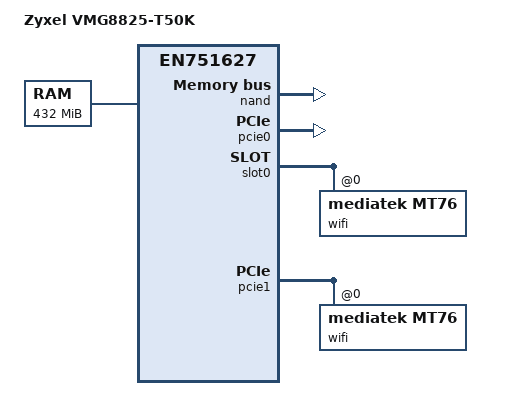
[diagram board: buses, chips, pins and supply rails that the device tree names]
// SPDX-License-Identifier: (GPL-2.0-only OR BSD-2-Clause)
/dts-v1/;

#include "en751627.dtsi"

/ {
	model = "Zyxel VMG8825-T50K";
	compatible = "zyxel,vmg8825-t50k", "econet,en751627";

	/*
	 * RAM: 512 MB DDR3-1333 fisica (Winbond), ma dichiarare l'intero range
	 * (0x0-0x1FFFFFFF) fa bloccare il kernel subito dopo "Readback ErrCtl
	 * register", prima di "Built 1 zonelists" — confine esatto con la
	 * finestra MMIO PCIe0 (0x20000000, vedi en751627.dtsi) e/o limite
	 * reale del training DDR3 del bootloader vendor.
	 * Il kernel stock ZyXEL (3.18.21) vedeva infatti solo 432MB usabili
	 * (80MB riservati per DSP VoIP + buffer WiFi) su questo stesso hardware.
	 * Replichiamo lo stesso limite, verificato reale, invece del totale.
	 */
	memory@0 {
		device_type = "memory";
		reg = <0x00000000 0x1b000000>;
	};

	chosen {
		stdout-path = "/serial@1fbf0000:115200";
		/*
		 * "misc" (118MB, vendor scratch space non usato da OpenWrt) riusata
		 * come volume UBI per l'overlay persistente. Il kernel ha gia'
		 * CONFIG_MTD_UBI + CONFIG_UBIFS_FS abilitati (verificato in
		 * target/linux/econet/en751627/config-6.18); JFFS2 invece non e'
		 * compilato affatto (CONFIG_JFFS2_FS is not set), motivo per cui
		 * senza UBI l'overlay cade sempre su tmpfs, ad ogni boot.
		 * fstools (mount_root.c) cerca un VOLUME UBI chiamato "rootfs_data"
		 * (non basta attaccare la partizione: va creato una volta con
		 * "ubimkvol /dev/ubi0 -N rootfs_data -m" dalla shell live).
		 */
		bootargs = "ubi.mtd=misc";
	};
};

&nand {
	status = "okay";
	econet,bmt;

	/*
	 * PARTITION TABLE ESATTA (confermata da /proc/mtd del kernel stock,
	 * boot log VMG8825-T50K firmware V5.50(ABRN.0)b5_20190923):
	 *
	 *   0x00000000-0x00040000 : bootloader      (256 KB)  read-only
	 *   0x00040000-0x00080000 : romfile         (256 KB)  read-only, contiene config vendor
	 *   0x00080000-0x03880000 : tclinux         ( 56 MB)  OS primario  (slot A)
	 *   0x03880000-0x06e80000 : tclinux_slave   ( 56 MB)  OS secondario (slot B)
	 *   0x06e80000-0x06f80000 : wwan            (  1 MB)
	 *   0x06f80000-0x07380000 : data            (  4 MB)
	 *   0x07380000-0x07480000 : rom-d           (  1 MB)
	 *   0x07480000-0x0ea80000 : misc            (118 MB)
	 *   0x0ea80000-0x0eb40000 : reservearea     (768 KB)  contiene WiFi EEPROM+CALDATA
	 *
	 * NAND totale: 256 MB Winbond W25M02G (SPI-NAND SLC, 2K page + 64 OOB)
	 *
	 * NOTA: tclinux contiene kernel LZMA + rootfs SquashFS-LZMA concatenati.
	 *       Il compatible "openwrt,firmware" abilita autodetect dei sub-blocchi.
	 */
	partitions {
		compatible = "fixed-partitions";
		#address-cells = <1>;
		#size-cells = <1>;

		partition@0all {
			label = "all_of_flash";
			reg = <0x0 0x10000000>;
			read-only;
		};

		partition@0 {
			label = "bootloader";
			reg = <0x00000000 0x00040000>;
			read-only;
		};

		partition@40000 {
			label = "romfile";
			reg = <0x00040000 0x00040000>;
			read-only;
		};

		/*
		 * "compatible = openwrt,firmware" (usato in una revisione precedente)
		 * non esiste in nessun driver reale: e' una stringa inerte, non fa nulla.
		 * Il meccanismo vero (verificato in target/linux/econet/image/tclinux-trx.sh)
		 * e' che la rootfs squashfs inizia SEMPRE a un offset fisso di 4MiB
		 * (PAD_ROOTFS_OFFSET_TO) dall'inizio della partizione tclinux, esattamente
		 * come fa il DTS di riferimento en751627_zyxel_ex3301-t0.dts (rootfs a
		 * 0x480000 = 0x80000+0x400000). Serve una sotto-partizione esplicita con
		 * "linux,rootfs;" perche' il kernel sappia dove montare la root.
		 * NOTA: solo "tclinux" (main) ha la rootfs marcata — anche il device
		 * di riferimento EX3301 fa cosi' (la sua "tclinux_alt" e' solo backup
		 * grezzo, senza rootfs marcata). Percio' bisogna sempre assicurarsi che
		 * lo slot "main" contenga l'immagine corretta.
		 */
		partition@80000 {
			label = "tclinux";
			reg = <0x00080000 0x03800000>;
			econet,enable-remap;
		};

		partition@480000 {
			label = "rootfs";
			reg = <0x00480000 0x03400000>;
			linux,rootfs;
		};

		partition@3880000 {
			label = "tclinux_slave";
			reg = <0x03880000 0x03600000>;
			econet,enable-remap;
		};

		partition@6e80000 {
			label = "wwan";
			reg = <0x06e80000 0x00100000>;
		};

		partition@6f80000 {
			label = "data";
			reg = <0x06f80000 0x00400000>;
		};

		partition@7380000 {
			label = "rom-d";
			reg = <0x07380000 0x00100000>;
		};

		partition@7480000 {
			label = "misc";
			reg = <0x07480000 0x07600000>;
		};

		/*
		 * "reservearea" tiene sia EEPROM sia CALDATA delle due radio MT7615.
		 * Da boot log kernel stock, layout interno confermato:
		 *   offset 0x00000  size 0x0400 (1KB)  : 2.4GHz EEPROM
		 *   offset 0x01000  size 0x9000 (36KB) : 2.4GHz CALDATA
		 *   offset 0x20000  size 0x0400 (1KB)  : 5GHz EEPROM
		 *   offset 0x21000  size 0x9000 (36KB) : 5GHz CALDATA
		 */
		factory: partition@ea80000 {
			label = "reservearea";
			reg = <0x0ea80000 0x000c0000>;
		};
	};
};

/*
 * WiFi: DUAL MediaTek MT7615 (2 chip fisici PCIe separati, non DBDC single-chip)
 *   pcie0 -> radio 2.4GHz con iPA+iLNA integrati (EEPROM offset 0x0)
 *   pcie1 -> radio 5GHz   con ePA+eLNA esterni   (EEPROM offset 0x20000)
 *
 * Il driver mt76 di OpenWrt (kernel 6.18) supporta MT7615 out-of-the-box.
 */
&pcie0 {
	status = "okay";
};

&slot0 {
	status = "okay";

	wifi@0,0 {
		compatible = "mediatek,mt76";
		reg = <0x0000 0 0 0 0>;
		mediatek,mtd-eeprom = <&factory 0x0000>;
		big-endian;
	};
};

&pcie1 {
	status = "okay";

	wifi@0,0 {
		compatible = "mediatek,mt76";
		reg = <0x0000 0 0 0 0>;
		mediatek,mtd-eeprom = <&factory 0x20000>;
		big-endian;
	};
};
